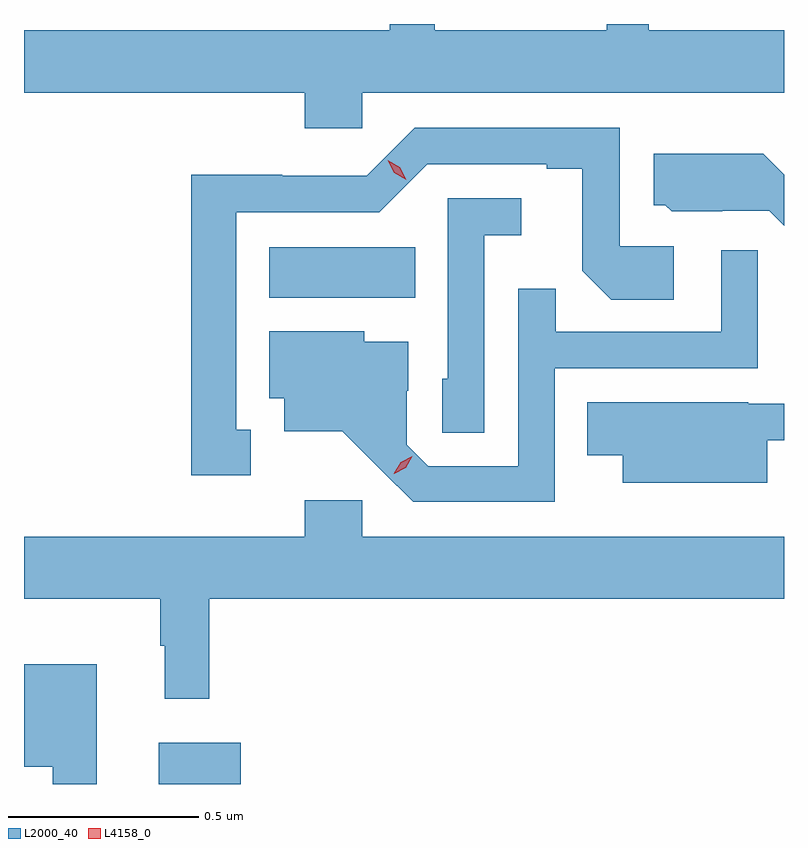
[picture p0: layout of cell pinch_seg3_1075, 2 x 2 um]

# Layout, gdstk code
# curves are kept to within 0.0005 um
import gdstk
lib = gdstk.Library(unit=1e-6, precision=1e-09)
def R(c, l, rs):  # rectangles x0, y0, x1, y1
    for r in rs: c.add(gdstk.rectangle(r[:2], r[2:], *l))
def P(c, l, *ps):  # polygons
    for p in ps: c.add(gdstk.Polygon(p, *l))
L2000_40 = (2000, 40)
L4158_0 = (4158, 0)

pinch_seg3_1075 = lib.new_cell('pinch_seg3_1075')
R(pinch_seg3_1075, L2000_40, [(343.097,713.749,343.312,713.857), (343.388,715.028,343.772,715.162)])
P(pinch_seg3_1075, L2000_40, [(343.632,715.568),(344.742,715.568),(344.742,715.732),(344.386,715.732),(344.386,715.749),(344.276,715.749),(344.276,715.732),(343.823,715.732),(343.823,715.749),(343.705,715.749),(343.705,715.732),(342.742,715.732),(342.742,715.568),(343.481,715.568),(343.481,715.475),(343.632,715.475)],
  [(343.339,714.681),(343.3,714.681),(343.3,715.254),(343.677,715.254),(343.803,715.38),(344.117,715.38),(344.117,715.368),(344.211,715.368),(344.211,715.1),(344.287,715.024),(344.452,715.024),(344.452,715.164),(344.31,715.164),(344.31,715.476),(343.77,715.476),(343.644,715.35),(343.422,715.35),(343.422,715.352),(343.182,715.352),(343.182,714.561),(343.339,714.561)],
  [(344.742,715.352),(344.687,715.408),(344.399,715.408),(344.399,715.272),(344.43,715.272),(344.446,715.256),(344.58,715.256),(344.58,715.257),(344.703,715.257),(344.742,715.218)],
  [(343.953,715.193),(344.05,715.193),(344.05,715.29),(343.857,715.29),(343.857,714.816),(343.842,714.816),(343.842,714.673),(343.953,714.673)],
  [(344.139,714.843),(344.673,714.843),(344.673,715.153),(344.577,715.153),(344.577,714.939),(344.141,714.939),(344.141,715.052),(344.043,715.052),(344.043,714.585),(343.806,714.585),(343.749,714.642),(343.749,714.784),(343.753,714.784),(343.753,714.913),(343.638,714.913),(343.638,714.94),(343.388,714.94),(343.388,714.764),(343.427,714.764),(343.427,714.677),(343.579,714.677),(343.766,714.492),(344.139,714.492)],
  [(344.698,714.653),(344.742,714.653),(344.742,714.75),(344.648,714.75),(344.648,714.754),(344.224,714.754),(344.224,714.614),(344.318,714.614),(344.318,714.542),(344.698,714.542)],
  [(343.229,714.236),(344.742,714.236),(344.742,714.4),(343.632,714.4),(343.632,714.496),(343.481,714.496),(343.481,714.4),(342.742,714.4),(342.742,714.236),(343.101,714.236),(343.101,714.113),(343.112,714.113),(343.112,713.973),(343.229,713.973)],
  [(342.934,714.064),(342.742,714.064),(342.742,713.795),(342.817,713.795),(342.817,713.749),(342.934,713.749)])
P(pinch_seg3_1075, L4158_0, [(343.715,714.566),(343.715,714.566),(343.733,714.596),(343.764,714.611),(343.764,714.611),(343.764,714.611),(343.746,714.581),(343.716,714.566)],
  [(343.748,715.339),(343.716,715.358),(343.699,715.39),(343.699,715.391),(343.699,715.391),(343.731,715.372),(343.748,715.339),(343.748,715.339)])

lib.write_gds('pinch_seg3_1075.gds')
